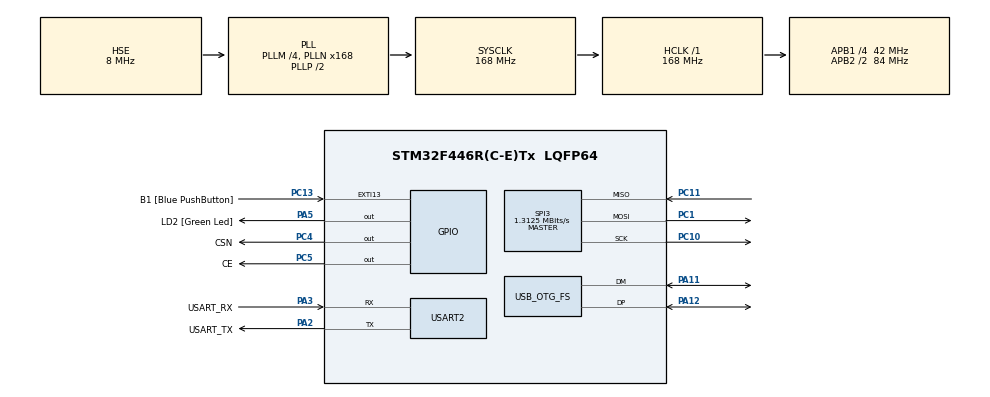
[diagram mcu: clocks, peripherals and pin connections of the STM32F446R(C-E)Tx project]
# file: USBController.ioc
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Mcu.Family=STM32F4
USB_DEVICE.CLASS_NAME_FS=HID
PH0-OSC_IN.Signal=RCC_OSC_IN
RCC.CortexFreq_Value=168000000
SPI3.Direction=SPI_DIRECTION_2LINES
SPI3.VirtualType=VM_MASTER
PC10.Signal=SPI3_SCK
PA14.GPIO_Label=TCK
PA11.Mode=Device_Only
PC13.GPIO_Label=B1 [Blue PushButton]
RCC.SYSCLKSource=RCC_SYSCLKSOURCE_PLLCLK
ProjectManager.StackSize=0x400
PA12.Signal=USB_OTG_FS_DP
RCC.HCLKFreq_Value=168000000
RCC.APB2TimFreq_Value=168000000
RCC.AHBFreq_Value=168000000
PH0-OSC_IN.Mode=HSE-External-Clock-Source
RCC.HSE_VALUE=8000000
PC14-OSC32_IN.Mode=LSE-External-Oscillator
PC4.GPIO_Label=CSN
PA14.Mode=Serial_Wire
RCC.FLatency-AdvancedSettings=FLASH_LATENCY_5
PH1-OSC_OUT.Mode=HSE-External-Clock-Source
Mcu.Package=LQFP64
SPI3.Mode=SPI_MODE_MASTER
USART2.VirtualMode=VM_ASYNC
NVIC.OTG_FS_IRQn=true\:0\:0\:false\:false\:true\:false\:true
PA2.GPIO_Label=USART_TX
USB_OTG_FS.VirtualMode=Device_Only
PC11.Mode=Full_Duplex_Master
RCC.APB2CLKDivider=RCC_HCLK_DIV2
RCC.APB1TimFreq_Value=84000000
PC5.Signal=GPIO_Output
PA3.Signal=USART2_RX
PB3.GPIO_Label=SWO
PC15-OSC32_OUT.Mode=LSE-External-Oscillator
USB_DEVICE.VirtualModeFS=Hid_FS
PC13.Signal=GPXTI13
PC11.Signal=SPI3_MISO
PC4.Signal=GPIO_Output
PC10.Mode=Full_Duplex_Master
RCC.APB1CLKDivider=RCC_HCLK_DIV4
PC14-OSC32_IN.Signal=RCC_OSC32_IN
PA13.Signal=SYS_JTMS-SWDIO
PA3.Mode=Asynchronous
ProjectManager.TargetToolchain=SW4STM32
RCC.USBFreq_Value=48000000
PC15-OSC32_OUT.Signal=RCC_OSC32_OUT
PA5.Signal=GPIO_Output
board=NUCLEO-F446RE
RCC.VCOOutputFreq_Value=336000000
VP_USB_DEVICE_VS_USB_DEVICE_HID_FS.Mode=HID_FS
RCC.APB2Freq_Value=84000000
SPI3.CalculateBaudRate=1.3125 MBits/s
SPI3.BaudRatePrescaler=SPI_BAUDRATEPRESCALER_32
PH1-OSC_OUT.Signal=RCC_OSC_OUT
PA13.Mode=Serial_Wire
Mcu.Name=STM32F446R(C-E)Tx
PA13.GPIO_Label=TMS
PA2.Signal=USART2_TX
RCC.48MHZClocksFreq_Value=84000000
PB3.Signal=SYS_JTDO-SWO
RCC.SYSCLKFreq_VALUE=168000000
PA12.Mode=Device_Only
PA5.GPIO_Label=LD2 [Green Led]
PC13.GPIO_ModeDefaultEXTI=GPIO_MODE_IT_FALLING
PC5.GPIO_Label=CE
PA11.Signal=USB_OTG_FS_DM
PA14.Signal=SYS_JTCK-SWCLK
ProjectManager.HeapSize=0x200
RCC.HSI_VALUE=16000000
RCC.PLLQ=7
NVIC.PriorityGroup=NVIC_PRIORITYGROUP_0
RCC.PLLM=4
RCC.PLLN=168
PA2.Mode=Asynchronous
RCC.APB1Freq_Value=42000000
PC1.Signal=SPI3_MOSI
PC1.Mode=Full_Duplex_Master
PA3.GPIO_Label=USART_RX
USB_DEVICE.VirtualMode-HID_FS=Hid

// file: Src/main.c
/* USER CODE BEGIN Header */
/**
  ******************************************************************************
  * @file           : main.c
  * @brief          : Main program body
  ******************************************************************************
  * @attention
  *
  * <h2><center>&copy; Copyright (c) 2021 STMicroelectronics.
  * All rights reserved.</center></h2>
  *
  * This software component is licensed by ST under Ultimate Liberty license
  * SLA0044, the "License"; You may not use this file except in compliance with
  * the License. You may obtain a copy of the License at:
  *                             www.st.com/SLA0044
  *
  ******************************************************************************
  */
/* USER CODE END Header */

#include "main.h"
#include "usb_device.h"

/* USER CODE BEGIN Includes */
#include "usbd_hid.h"
#include <math.h>
#include "MY_NRF24.h"
/* USER CODE END Includes */

/* USER CODE BEGIN PD */
#define DEBUG 0//1 for SERIAL messages
#define HID_BUFFER_SIZE 7 //USB HID Buffer Size

#define RF_ADDRESS_USB 0x11223344AA //USB Controller
#define RF_ADDRESS_LP  0x4444444444//Laser Pointer
#define RF_ADDRESS_PI  0x5566778899 //RPI
#define RF_CHANNEL 120
#define RF_PIPE 1
#define RF_PAYLOAD_SIZE 5

#define RF_LEFT_CLICK_DOWN 0x01
#define RF_RIGHT_CLICK_DOWN 0x02
#define RF_LEFT_CLICK_UP 0x03
#define RF_RIGHT_CLICK_UP 0x04

#define RF_POSITION 0x05
#define RF_POSITION_MAX_MSB  0x0F
#define RF_POSITION_MAX_LSB  0xFF

#define RF_VALID 0x01
#define RF_NOTVALID 0x02

/* USER CODE END PD */

SPI_HandleTypeDef hspi3;
UART_HandleTypeDef huart2;

/* USER CODE BEGIN PV */
USBD_HandleTypeDef hUsbDeviceFS;
uint8_t HIDBuffer[HID_BUFFER_SIZE];
/* USER CODE END PV */

void SystemClock_Config(void);
static void MX_GPIO_Init(void);
static void MX_SPI3_Init(void);
static void MX_USART2_UART_Init(void);
/* USER CODE BEGIN PFP */
void setupRX(uint64_t address, uint8_t channel, uint8_t number, uint8_t payloadSize);
bool readData(uint8_t pipe,uint8_t payloadSize);
bool validData(uint8_t * myRxData);
//HID Report Functions
void setupHIDReportClick(uint8_t click);
void setupHIDReportXPosition(uint8_t yPositionLSB, uint8_t yPositionMSB);
void setupHIDReportYPosition(uint8_t yPositionLSB, uint8_t yPositionMSB);
void setupHIDReportScrollWheel(uint8_t scrollWheelMSB, uint8_t scrollWheelLSB);

/* USER CODE END PFP */

int main(void)
{

  /* MCU Configuration--------------------------------------------------------*/

  /* Reset of all peripherals, Initializes the Flash interface and the Systick. */
  HAL_Init();

  /* Configure the system clock */
  SystemClock_Config();

  /* Initialize all configured peripherals */
  MX_GPIO_Init();
  MX_SPI3_Init();
  if(DEBUG){
	  MX_USART2_UART_Init();
  }
  MX_USB_DEVICE_Init();
  /* USER CODE BEGIN 2 */

  //Initialize NRF24
  NRF24_begin(CSN_GPIO_Port, CSN_Pin, CE_Pin, hspi3);
  if(DEBUG){
	  nrf24_DebugUART_Init(huart2);   //Initialize NRF24 UART Debugging
  }

  //Initialize receiving pipe
  setupRX(RF_ADDRESS_USB, RF_CHANNEL, RF_PIPE, RF_PAYLOAD_SIZE);

  //Initialize HID Buffer
  HIDBuffer[0] = 0;
  HIDBuffer[1] = 0;
  HIDBuffer[2] = 0;
  HIDBuffer[3] = 0;
  HIDBuffer[4] = 0;
  HIDBuffer[5] = 0;
  HIDBuffer[6] = 0;

  /* USER CODE END 2 */

  /* Infinite loop */
  while (1)
  {
	  if(NRF24_available() && readData(RF_PIPE,RF_PAYLOAD_SIZE)) //Packet Available and Valid
		{
		  //Send HID Report
		  USBD_HID_SendReport(&hUsbDeviceFS, HIDBuffer,HID_BUFFER_SIZE);
		}

  }
}

void setupRX(uint64_t address, uint8_t channel, uint8_t pipe, uint8_t payloadSize){
	NRF24_stopListening();
	NRF24_setAutoAck(true);
	NRF24_setChannel(channel);
	NRF24_setPayloadSize(payloadSize);
	NRF24_openReadingPipe(pipe, address);
	NRF24_setDataRate(RF24_250KBPS);
	NRF24_startListening();
	if(DEBUG){
		printRadioSettings();
//		Read Registers Manually
		char debugMessage[15]="";
		for(uint8_t reg = 0; reg <= 0x1D;reg++){
			uint8_t regValue = NRF24_read_register(reg);
			snprintf(debugMessage, 15, "%02x: %02x \r\n", reg,regValue);
			HAL_UART_Transmit(&huart2,(uint8_t *)debugMessage, 15, 10);
		}

	}
	return;
}

bool readData(uint8_t pipe,uint8_t payloadSize){
	uint8_t RxData[payloadSize];
	NRF24_read(RxData, payloadSize);
	//Check Data Validity
	return validData(RxData);
}

bool validData(uint8_t * myRxData){
	char debugMessage[32]="";
	if(myRxData[0] == RF_LEFT_CLICK_DOWN){
		setupHIDReportClick(1);
		if(DEBUG){
			snprintf(debugMessage, 32,"Left Click Down\r\n");
			HAL_UART_Transmit(&huart2,(uint8_t *)debugMessage, 32,10);
		}
		return true;
	}
	else if(myRxData[0] == RF_RIGHT_CLICK_DOWN){
		setupHIDReportClick(2);
		if(DEBUG){
			snprintf(debugMessage, 32,"Right Click Down\r\n");
			HAL_UART_Transmit(&huart2,(uint8_t *)debugMessage, 32,10);
		}
		return true;
	}
	else if(myRxData[0] == RF_LEFT_CLICK_UP){
			setupHIDReportClick(0);
			if(DEBUG){
				snprintf(debugMessage, 32,"Left Click Up\r\n");
				HAL_UART_Transmit(&huart2,(uint8_t *)debugMessage, 32,10);
			}
			return true;
	}
	else if(myRxData[0] == RF_RIGHT_CLICK_UP){
		setupHIDReportClick(0);
		if(DEBUG){
			snprintf(debugMessage, 32,"Right Click Up\r\n");
			HAL_UART_Transmit(&huart2,(uint8_t *)debugMessage, 32,10);
		}
		return true;
	} else if((myRxData[0] == RF_POSITION) &&
            ((myRxData[1] <= RF_POSITION_MAX_MSB) && (myRxData[2] <= RF_POSITION_MAX_LSB) && (myRxData[3] <= RF_POSITION_MAX_MSB) && (myRxData[4] <= RF_POSITION_MAX_LSB))){
		setupHIDReportXPosition(myRxData[1], myRxData[2]);
		setupHIDReportYPosition(myRxData[3], myRxData[4]);
		if(DEBUG){
			uint16_t xPosition = 0x0000 | (myRxData[1] << 8) | myRxData[2];
			uint16_t yPosition = 0x0000 | (myRxData[3] << 8) | myRxData[4];
			snprintf(debugMessage, 32, "X: %u,Y: %u\r\n", xPosition, yPosition);
			HAL_UART_Transmit(&huart2,(uint8_t *)debugMessage, 32,10);
		}
		return true;
	}
	else if(DEBUG){//Incorrect Message, Print to HAL UART Directly
		snprintf(debugMessage, 15, "%02x\r\n", myRxData[0]);
		HAL_UART_Transmit(&huart2,(uint8_t *)debugMessage, 32, 10);
	}

	return false;
}

void setupHIDReportClick(uint8_t click){
	HIDBuffer[0] = click; //1-> Left Click, 2-> Right Click 3-> Middle
}

void setupHIDReportXPosition(uint8_t xPositionMSB, uint8_t xPositionLSB){
	HIDBuffer[1] = xPositionLSB; //X Position
	HIDBuffer[2] = xPositionMSB; //X Position (2) (Most Significant Bits)
}

void setupHIDReportYPosition(uint8_t yPositionMSB, uint8_t yPositionLSB){
	HIDBuffer[3] = yPositionLSB; //Y Position
	HIDBuffer[4] = yPositionMSB; //Y  Position (2) (Most Significant Bits)
}

void setupHIDReportScrollWheel(uint8_t scrollWheelMSB, uint8_t scrollWheelLSB){
	HIDBuffer[5] = scrollWheelLSB; //Scroll Wheel
	HIDBuffer[6] = scrollWheelMSB; //Scroll Wheel (2) (Most Significant Bits)
}

void SystemClock_Config(void)
{
  RCC_OscInitTypeDef RCC_OscInitStruct = {0};
  RCC_ClkInitTypeDef RCC_ClkInitStruct = {0};
  RCC_PeriphCLKInitTypeDef PeriphClkInitStruct = {0};

  /** Configure the main internal regulator output voltage
  */
  __HAL_RCC_PWR_CLK_ENABLE();
  __HAL_PWR_VOLTAGESCALING_CONFIG(PWR_REGULATOR_VOLTAGE_SCALE1);
  /** Initializes the CPU, AHB and APB busses clocks
  */
  RCC_OscInitStruct.OscillatorType = RCC_OSCILLATORTYPE_HSE;
  RCC_OscInitStruct.HSEState = RCC_HSE_BYPASS;
  RCC_OscInitStruct.PLL.PLLState = RCC_PLL_ON;
  RCC_OscInitStruct.PLL.PLLSource = RCC_PLLSOURCE_HSE;
  RCC_OscInitStruct.PLL.PLLM = 4;
  RCC_OscInitStruct.PLL.PLLN = 168;
  RCC_OscInitStruct.PLL.PLLP = RCC_PLLP_DIV2;
  RCC_OscInitStruct.PLL.PLLQ = 7;
  RCC_OscInitStruct.PLL.PLLR = 2;
  if (HAL_RCC_OscConfig(&RCC_OscInitStruct) != HAL_OK)
  {
    Error_Handler();
  }
  /** Initializes the CPU, AHB and APB busses clocks
  */
  RCC_ClkInitStruct.ClockType = RCC_CLOCKTYPE_HCLK|RCC_CLOCKTYPE_SYSCLK
                              |RCC_CLOCKTYPE_PCLK1|RCC_CLOCKTYPE_PCLK2;
  RCC_ClkInitStruct.SYSCLKSource = RCC_SYSCLKSOURCE_PLLCLK;
  RCC_ClkInitStruct.AHBCLKDivider = RCC_SYSCLK_DIV1;
  RCC_ClkInitStruct.APB1CLKDivider = RCC_HCLK_DIV4;
  RCC_ClkInitStruct.APB2CLKDivider = RCC_HCLK_DIV2;

  if (HAL_RCC_ClockConfig(&RCC_ClkInitStruct, FLASH_LATENCY_5) != HAL_OK)
  {
    Error_Handler();
  }
  PeriphClkInitStruct.PeriphClockSelection = RCC_PERIPHCLK_CLK48;
  PeriphClkInitStruct.Clk48ClockSelection = RCC_CLK48CLKSOURCE_PLLQ;
  if (HAL_RCCEx_PeriphCLKConfig(&PeriphClkInitStruct) != HAL_OK)
  {
    Error_Handler();
  }
}

static void MX_SPI3_Init(void)
{

  /* SPI3 parameter configuration*/
  hspi3.Instance = SPI3;
  hspi3.Init.Mode = SPI_MODE_MASTER;
  hspi3.Init.Direction = SPI_DIRECTION_2LINES;
  hspi3.Init.DataSize = SPI_DATASIZE_8BIT;
  hspi3.Init.CLKPolarity = SPI_POLARITY_LOW;
  hspi3.Init.CLKPhase = SPI_PHASE_1EDGE;
  hspi3.Init.NSS = SPI_NSS_SOFT;
  hspi3.Init.BaudRatePrescaler = SPI_BAUDRATEPRESCALER_32;
  hspi3.Init.FirstBit = SPI_FIRSTBIT_MSB;
  hspi3.Init.TIMode = SPI_TIMODE_DISABLE;
  hspi3.Init.CRCCalculation = SPI_CRCCALCULATION_DISABLE;
  hspi3.Init.CRCPolynomial = 10;
  if (HAL_SPI_Init(&hspi3) != HAL_OK)
  {
    Error_Handler();
  }

}

static void MX_USART2_UART_Init(void)
{

  huart2.Instance = USART2;
  huart2.Init.BaudRate = 115200;
  huart2.Init.WordLength = UART_WORDLENGTH_8B;
  huart2.Init.StopBits = UART_STOPBITS_1;
  huart2.Init.Parity = UART_PARITY_NONE;
  huart2.Init.Mode = UART_MODE_TX_RX;
  huart2.Init.HwFlowCtl = UART_HWCONTROL_NONE;
  huart2.Init.OverSampling = UART_OVERSAMPLING_16;
  if (HAL_UART_Init(&huart2) != HAL_OK)
  {
    Error_Handler();
  }

}

static void MX_GPIO_Init(void)
{
  GPIO_InitTypeDef GPIO_InitStruct = {0};

  /* GPIO Ports Clock Enable */
  __HAL_RCC_GPIOC_CLK_ENABLE();
  __HAL_RCC_GPIOH_CLK_ENABLE();
  __HAL_RCC_GPIOA_CLK_ENABLE();
  __HAL_RCC_GPIOB_CLK_ENABLE();

  /*Configure GPIO pin Output Level */
  HAL_GPIO_WritePin(LD2_GPIO_Port, LD2_Pin, GPIO_PIN_RESET);

  /*Configure GPIO pin Output Level */
  HAL_GPIO_WritePin(GPIOC, CSN_Pin|CE_Pin, GPIO_PIN_RESET);

  /*Configure GPIO pin : B1_Pin */
  GPIO_InitStruct.Pin = B1_Pin;
  GPIO_InitStruct.Mode = GPIO_MODE_IT_FALLING;
  GPIO_InitStruct.Pull = GPIO_NOPULL;
  HAL_GPIO_Init(B1_GPIO_Port, &GPIO_InitStruct);

  /*Configure GPIO pin : LD2_Pin */
  GPIO_InitStruct.Pin = LD2_Pin;
  GPIO_InitStruct.Mode = GPIO_MODE_OUTPUT_PP;
  GPIO_InitStruct.Pull = GPIO_NOPULL;
  GPIO_InitStruct.Speed = GPIO_SPEED_FREQ_LOW;
  HAL_GPIO_Init(LD2_GPIO_Port, &GPIO_InitStruct);

  /*Configure GPIO pins : CSN_Pin CE_Pin */
  GPIO_InitStruct.Pin = CSN_Pin|CE_Pin;
  GPIO_InitStruct.Mode = GPIO_MODE_OUTPUT_PP;
  GPIO_InitStruct.Pull = GPIO_NOPULL;
  GPIO_InitStruct.Speed = GPIO_SPEED_FREQ_LOW;
  HAL_GPIO_Init(GPIOC, &GPIO_InitStruct);

}

void Error_Handler(void)
{
}

/************************ (C) COPYRIGHT STMicroelectronics *****END OF FILE****/
